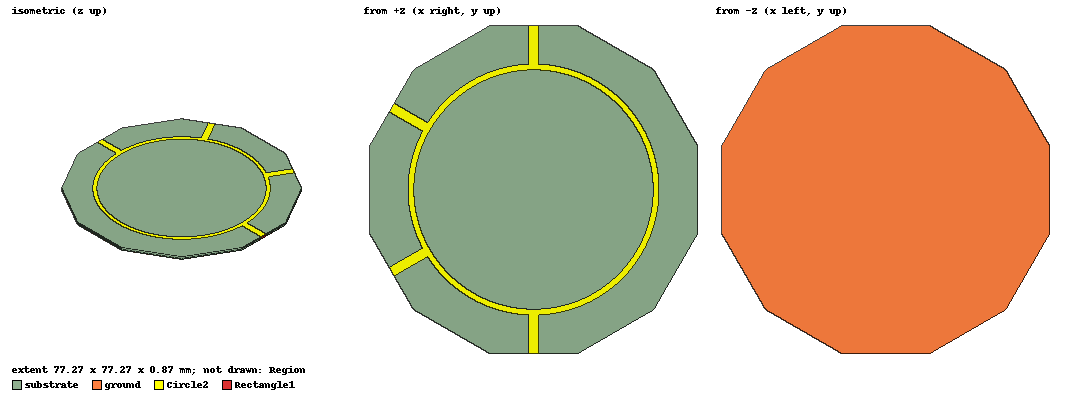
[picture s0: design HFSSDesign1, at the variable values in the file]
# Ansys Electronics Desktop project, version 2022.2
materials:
  vacuum: permittivity=1
  pec: conductivity=1e+30
  Rogers RT/duroid 5870 (tm): permittivity=2.33 dielectric_loss_tangent=0.0012

design HFSSDesign1 (HFSS, DrivenModal, model units mm)
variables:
  rin = 28.2mm
  rout = 29.56mm
  rgnd = 40mm
  hsub = 0.8mm
  t = 0.035mm
  w50 = 2.34mm
  l50 = 10mm
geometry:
  Circle1 = circle(normal=Z, centre=(0mm, 0mm, 0mm), radius=rin)
  Circle2 [pec] = circle(normal=Z, centre=(0mm, 0mm, 0mm), radius=rout)
  Circle2.subtract(Circle1)
  substrate [Rogers RT/duroid 5870 (tm)] = circle(normal=Z, centre=(0mm, 0mm, 0mm), radius=rgnd, segments=12)
  Circle2.thicken(0.035mm)
  substrate.rotate(axis=Z, angle=15deg)
  substrate.thicken(-hsub)
  ground [pec] = circle(normal=Z, centre=(0mm, 0mm, -hsub), radius=rgnd, segments=12)
  ground.rotate(axis=Z, angle=15deg)
  ground.thicken(-t)
  coordinate_system RelativeCS1 = origin=(0mm, 38.637033mm, 0mm) x=(1mm, 0mm, 0mm) y=(0mm, 1mm, 0mm)
  port1 = rectangle(corner=(-w50/2, 0mm, 0mm), x_size=w50, y_size=-l50) in RelativeCS1
  port2 = rectangle(corner=(-w50/2, 0mm, 0mm), x_size=w50, y_size=-l50) in RelativeCS1
  port3 = rectangle(corner=(-w50/2, 0mm, 0mm), x_size=w50, y_size=-l50) in RelativeCS1
  port4 = rectangle(corner=(-w50/2, 0mm, 0mm), x_size=w50, y_size=-l50) in RelativeCS1
  port2.rotate(axis=Z, angle=60deg)
  port3.rotate(axis=Z, angle=120deg)
  port4.rotate(axis=Z, angle=180deg)
  [port4, port3, port2, port1].thicken(-t)
  Circle2.unite(port1..port4)
  Rectangle1 = rectangle(corner=(1.17mm, 38.637033mm, 0.035mm), z_size=-2*t-hsub, x_size=-w50)
  Rectangle2 = rectangle(corner=(1.17mm, 38.637033mm, 0.035mm), z_size=-2*t-hsub, x_size=-w50)
  Rectangle2.rotate(axis=Z, angle=60deg)
  Rectangle3 = rectangle(corner=(1.17mm, 38.637033mm, 0.035mm), z_size=-2*t-hsub, x_size=-w50)
  Rectangle3.rotate(axis=Z, angle=120deg)
  Rectangle4 = rectangle(corner=(1.17mm, 38.637033mm, 0.035mm), z_size=-2*t-hsub, x_size=-w50)
  Rectangle4.rotate(axis=Z, angle=180deg)
  Region [vacuum] = region(absolute_offset=50mm on all sides)
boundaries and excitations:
  Rad1: Radiation Objects=Region
  1: Lumped Port Objects=Rectangle1 Modes{Mode1{IntLine{(0, 38.637033, -0.835) -> (0, 38.637033, 0.035)} CharImp=Zpi RenormImp=50ohm}} Impedance=50ohm
  2: Lumped Port Objects=Rectangle2 Modes{Mode1{IntLine{(-33.460652, 19.318517, -0.835) -> (-33.460652, 19.318517, 0.035)} CharImp=Zpi RenormImp=50ohm}} Impedance=50ohm
  3: Lumped Port Objects=Rectangle3 Modes{Mode1{IntLine{(-33.460652, -19.318517, -0.835) -> (-33.460652, -19.318517, 0.035)} CharImp=Zpi RenormImp=50ohm}} Impedance=50ohm
  4: Lumped Port Objects=Rectangle4 Modes{Mode1{IntLine{(0, -38.637033, -0.835) -> (0, -38.637033, 0.035)} CharImp=Zpi RenormImp=50ohm}} Impedance=50ohm
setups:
  Setup1: HfssDriven MultipleAdaptiveFreqsSetup{Low=1GHz High=3GHz} MaxDeltaS=0.02 MaximumPasses=10 MinimumPasses=1 MinimumConvergedPasses=1 PercentRefinement=30 BasisOrder=1 PortAccuracy=2 DrivenSolverType="Direct Solver"
    sweep Sweep: 1GHz to 3GHz, 401 points; Type=Fast SaveFields
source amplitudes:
  1:1, 3:1: 1W 0deg
  2:1, 4:1: 0W 0deg
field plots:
  Mag_Jsurf1: Jsurf over Circle2.face(all 19) on Setup1 : Sweep at Freq=1.8GHz Phase=0deg
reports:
  S Parameter Plot 1: dB(S(1,1)), dB(S(2,1)), dB(S(3,1)), dB(S(4,1)) vs Freq on Setup1 : Sweep; markers MX1 at x=1.786783e+09
